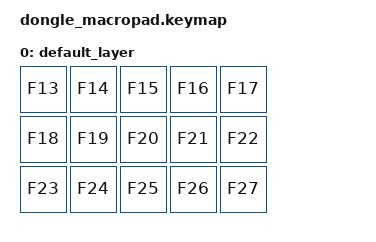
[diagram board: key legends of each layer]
/*
 * Copyright (c) 2020 The ZMK Contributors
 *
 * SPDX-License-Identifier: MIT
 */

#include <behaviors.dtsi>
#include <dt-bindings/zmk/keys.h>

/ {
    keymap {
        compatible = "zmk,keymap";

        default_layer {
            bindings = <
&kp F13  &kp F14  &kp F15  &kp F16  &kp F17
&kp F18  &kp F19  &kp F20  &kp F21  &kp F22
&kp F23  &kp F24  &kp F25  &kp F26  &kp F27
            >;
        };
    };
};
